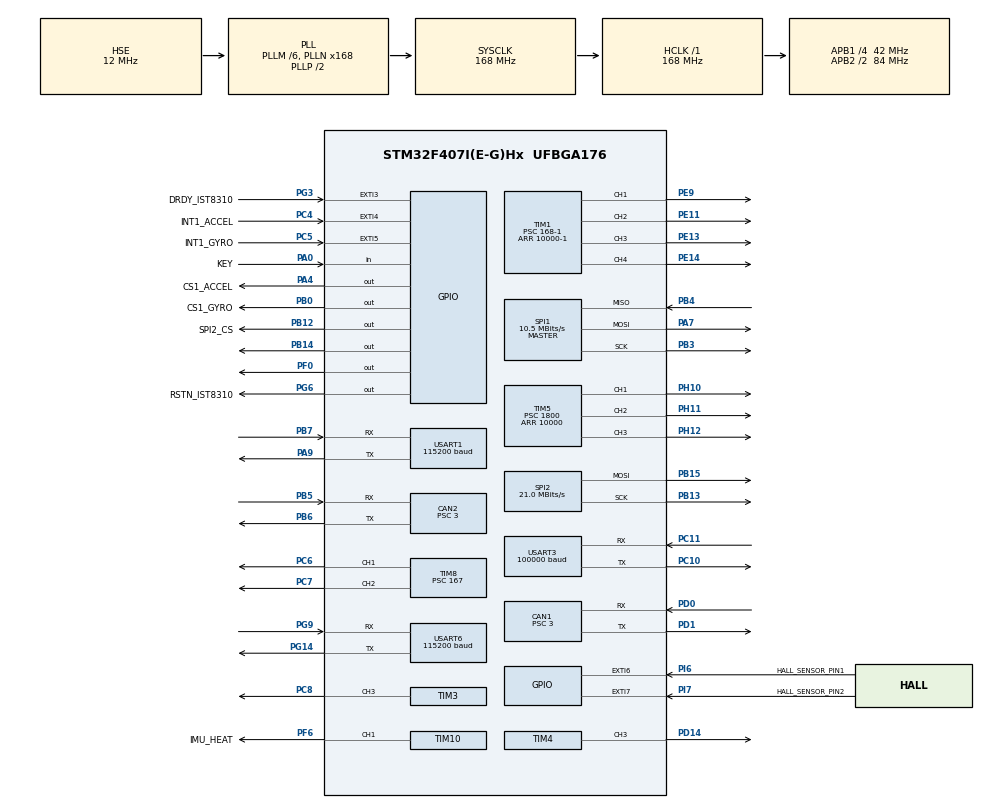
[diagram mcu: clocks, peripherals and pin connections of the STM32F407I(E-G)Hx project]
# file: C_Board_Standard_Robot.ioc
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CAN1.BS1=CAN_BS1_10TQ
CAN1.BS2=CAN_BS2_3TQ
CAN1.CalculateBaudRate=1000000
CAN1.CalculateTimeQuantum=71.42857142857143
CAN1.Prescaler=3
CAN1.SJW=CAN_SJW_1TQ
CAN2.BS1=CAN_BS1_10TQ
CAN2.BS2=CAN_BS2_3TQ
CAN2.CalculateBaudRate=1000000
CAN2.CalculateTimeQuantum=71.42857142857143
CAN2.Prescaler=3
Dma.Request0=SPI1_RX
Dma.Request1=SPI1_TX
Dma.Request2=USART3_RX
Dma.Request3=SPI2_TX
Dma.Request4=USART1_TX
Dma.Request5=USART6_RX
Dma.Request6=USART6_TX
Dma.Request7=USART1_RX
Dma.SPI1_RX.0.Direction=DMA_PERIPH_TO_MEMORY
Dma.SPI1_RX.0.FIFOMode=DMA_FIFOMODE_DISABLE
Dma.SPI1_RX.0.Instance=DMA2_Stream2
Dma.SPI1_RX.0.MemDataAlignment=DMA_MDATAALIGN_BYTE
Dma.SPI1_RX.0.MemInc=DMA_MINC_ENABLE
Dma.SPI1_RX.0.Mode=DMA_NORMAL
Dma.SPI1_RX.0.PeriphDataAlignment=DMA_PDATAALIGN_BYTE
Dma.SPI1_RX.0.PeriphInc=DMA_PINC_DISABLE
Dma.SPI1_RX.0.Priority=DMA_PRIORITY_VERY_HIGH
Dma.SPI1_TX.1.Direction=DMA_MEMORY_TO_PERIPH
Dma.SPI1_TX.1.FIFOMode=DMA_FIFOMODE_DISABLE
Dma.SPI1_TX.1.Instance=DMA2_Stream3
Dma.SPI1_TX.1.MemDataAlignment=DMA_MDATAALIGN_BYTE
Dma.SPI1_TX.1.MemInc=DMA_MINC_ENABLE
Dma.SPI1_TX.1.Mode=DMA_NORMAL
Dma.SPI1_TX.1.PeriphDataAlignment=DMA_PDATAALIGN_BYTE
Dma.SPI1_TX.1.PeriphInc=DMA_PINC_DISABLE
Dma.SPI1_TX.1.Priority=DMA_PRIORITY_HIGH
Dma.SPI2_TX.3.Direction=DMA_MEMORY_TO_PERIPH
Dma.SPI2_TX.3.FIFOMode=DMA_FIFOMODE_DISABLE
Dma.SPI2_TX.3.Instance=DMA1_Stream4
Dma.SPI2_TX.3.MemDataAlignment=DMA_MDATAALIGN_BYTE
Dma.SPI2_TX.3.MemInc=DMA_MINC_ENABLE
Dma.SPI2_TX.3.Mode=DMA_NORMAL
Dma.SPI2_TX.3.PeriphDataAlignment=DMA_PDATAALIGN_BYTE
Dma.SPI2_TX.3.PeriphInc=DMA_PINC_DISABLE
Dma.SPI2_TX.3.Priority=DMA_PRIORITY_LOW
Dma.USART1_RX.7.Direction=DMA_PERIPH_TO_MEMORY
Dma.USART1_RX.7.FIFOMode=DMA_FIFOMODE_DISABLE
Dma.USART1_RX.7.Instance=DMA2_Stream5
Dma.USART1_RX.7.MemDataAlignment=DMA_MDATAALIGN_BYTE
Dma.USART1_RX.7.MemInc=DMA_MINC_ENABLE
Dma.USART1_RX.7.Mode=DMA_NORMAL
Dma.USART1_RX.7.PeriphDataAlignment=DMA_PDATAALIGN_BYTE
Dma.USART1_RX.7.PeriphInc=DMA_PINC_DISABLE
Dma.USART1_RX.7.Priority=DMA_PRIORITY_MEDIUM
Dma.USART1_TX.4.Direction=DMA_MEMORY_TO_PERIPH
Dma.USART1_TX.4.FIFOMode=DMA_FIFOMODE_DISABLE
Dma.USART1_TX.4.Instance=DMA2_Stream7
Dma.USART1_TX.4.MemDataAlignment=DMA_MDATAALIGN_BYTE
Dma.USART1_TX.4.MemInc=DMA_MINC_ENABLE
Dma.USART1_TX.4.Mode=DMA_NORMAL
Dma.USART1_TX.4.PeriphDataAlignment=DMA_PDATAALIGN_BYTE
Dma.USART1_TX.4.PeriphInc=DMA_PINC_DISABLE
Dma.USART1_TX.4.Priority=DMA_PRIORITY_LOW
Dma.USART3_RX.2.Direction=DMA_PERIPH_TO_MEMORY
Dma.USART3_RX.2.FIFOMode=DMA_FIFOMODE_DISABLE
Dma.USART3_RX.2.Instance=DMA1_Stream1
Dma.USART3_RX.2.MemDataAlignment=DMA_MDATAALIGN_BYTE
Dma.USART3_RX.2.MemInc=DMA_MINC_ENABLE
Dma.USART3_RX.2.Mode=DMA_NORMAL
Dma.USART3_RX.2.PeriphDataAlignment=DMA_PDATAALIGN_BYTE
Dma.USART3_RX.2.PeriphInc=DMA_PINC_DISABLE
Dma.USART3_RX.2.Priority=DMA_PRIORITY_VERY_HIGH
Dma.USART6_RX.5.Direction=DMA_PERIPH_TO_MEMORY
Dma.USART6_RX.5.FIFOMode=DMA_FIFOMODE_DISABLE
Dma.USART6_RX.5.Instance=DMA2_Stream1
Dma.USART6_RX.5.MemDataAlignment=DMA_MDATAALIGN_BYTE
Dma.USART6_RX.5.MemInc=DMA_MINC_ENABLE
Dma.USART6_RX.5.Mode=DMA_NORMAL
Dma.USART6_RX.5.PeriphDataAlignment=DMA_PDATAALIGN_BYTE
Dma.USART6_RX.5.PeriphInc=DMA_PINC_DISABLE
Dma.USART6_RX.5.Priority=DMA_PRIORITY_LOW
Dma.USART6_TX.6.Direction=DMA_MEMORY_TO_PERIPH
Dma.USART6_TX.6.FIFOMode=DMA_FIFOMODE_DISABLE
Dma.USART6_TX.6.Instance=DMA2_Stream6
Dma.USART6_TX.6.MemDataAlignment=DMA_MDATAALIGN_BYTE
Dma.USART6_TX.6.MemInc=DMA_MINC_ENABLE
Dma.USART6_TX.6.Mode=DMA_NORMAL
Dma.USART6_TX.6.PeriphDataAlignment=DMA_PDATAALIGN_BYTE
Dma.USART6_TX.6.PeriphInc=DMA_PINC_DISABLE
Dma.USART6_TX.6.Priority=DMA_PRIORITY_LOW
FREERTOS.INCLUDE_eTaskGetState=1
FREERTOS.INCLUDE_pcTaskGetTaskName=1
FREERTOS.INCLUDE_uxTaskGetStackHighWaterMark=1
FREERTOS.INCLUDE_vTaskCleanUpResources=1
FREERTOS.INCLUDE_vTaskDelayUntil=1
FREERTOS.INCLUDE_xEventGroupSetBitFromISR=1
FREERTOS.INCLUDE_xQueueGetMutexHolder=1
FREERTOS.INCLUDE_xSemaphoreGetMutexHolder=1
FREERTOS.INCLUDE_xTaskAbortDelay=1
FREERTOS.INCLUDE_xTaskGetCurrentTaskHandle=1
FREERTOS.INCLUDE_xTaskGetHandle=1
FREERTOS.INCLUDE_xTimerPendFunctionCall=1
FREERTOS.Tasks01=INSTask,0,1024,StartINSTask,Default,NULL,Dynamic,NULL,NULL
FREERTOS.configGENERATE_RUN_TIME_STATS=0
FREERTOS.configTOTAL_HEAP_SIZE=65536
FREERTOS.configUSE_STATS_FORMATTING_FUNCTIONS=0
FREERTOS.configUSE_TRACE_FACILITY=0
Mcu.Family=STM32F4
Mcu.Name=STM32F407I(E-G)Hx
Mcu.Package=UFBGA176
NVIC.CAN1_RX0_IRQn=true\:5\:0\:false\:false\:true\:false\:true\:true\:true
NVIC.CAN2_RX0_IRQn=true\:5\:0\:false\:false\:true\:false\:true\:true\:true
NVIC.DMA1_Stream1_IRQn=true\:5\:0\:false\:false\:true\:true\:false\:true\:true
NVIC.DMA1_Stream4_IRQn=true\:5\:0\:false\:false\:true\:true\:false\:true\:true
NVIC.DMA2_Stream1_IRQn=true\:5\:0\:false\:false\:true\:true\:false\:true\:true
NVIC.DMA2_Stream2_IRQn=true\:5\:0\:true\:false\:false\:false\:false\:true\:true
NVIC.DMA2_Stream3_IRQn=true\:5\:0\:true\:false\:false\:false\:false\:true\:true
NVIC.DMA2_Stream5_IRQn=true\:5\:0\:false\:false\:true\:true\:false\:true\:true
NVIC.DMA2_Stream6_IRQn=true\:5\:0\:false\:false\:true\:true\:false\:true\:true
NVIC.DMA2_Stream7_IRQn=true\:5\:0\:false\:false\:true\:true\:false\:true\:true
NVIC.EXTI3_IRQn=true\:5\:0\:true\:false\:true\:false\:true\:true\:true
NVIC.EXTI4_IRQn=true\:5\:0\:true\:false\:true\:false\:true\:true\:true
NVIC.EXTI9_5_IRQn=true\:5\:0\:true\:false\:true\:false\:true\:true\:true
NVIC.HASH_RNG_IRQn=true\:5\:0\:false\:false\:true\:false\:true\:true\:true
NVIC.PriorityGroup=NVIC_PRIORITYGROUP_4
NVIC.TIM2_IRQn=true\:0\:0\:false\:false\:true\:false\:false\:true\:true
NVIC.TIM8_TRG_COM_TIM14_IRQn=true\:5\:0\:false\:false\:true\:true\:true\:true\:true
NVIC.TimeBase=TIM2_IRQn
NVIC.TimeBaseIP=TIM2
NVIC.USART1_IRQn=true\:0\:0\:true\:false\:true\:false\:true\:true\:true
NVIC.USART3_IRQn=true\:4\:0\:true\:false\:true\:false\:true\:true\:true
NVIC.USART6_IRQn=true\:5\:0\:false\:false\:true\:false\:true\:true\:true
PA0-WKUP.GPIO_Label=KEY
PA0-WKUP.GPIO_PuPd=GPIO_PULLUP
PA0-WKUP.Signal=GPIO_Input
PA13.Mode=Serial_Wire
PA13.Signal=SYS_JTMS-SWDIO
PA14.Mode=Serial_Wire
PA14.Signal=SYS_JTCK-SWCLK
PA4.GPIO_Label=CS1_ACCEL
PA4.GPIO_PuPd=GPIO_PULLUP
PA4.GPIO_Speed=GPIO_SPEED_FREQ_HIGH
PA4.PinState=GPIO_PIN_SET
PA4.Signal=GPIO_Output
PA7.GPIO_PuPd=GPIO_PULLUP
PA7.Mode=Full_Duplex_Master
PA7.Signal=SPI1_MOSI
PA9.Mode=Asynchronous
PA9.Signal=USART1_TX
PB0.GPIO_Label=CS1_GYRO
PB0.GPIO_PuPd=GPIO_PULLUP
PB0.GPIO_Speed=GPIO_SPEED_FREQ_HIGH
PB0.PinState=GPIO_PIN_SET
PB0.Signal=GPIO_Output
PB12.GPIO_Label=SPI2_CS
PB12.GPIO_PuPd=GPIO_PULLUP
PB12.GPIO_Speed=GPIO_SPEED_FREQ_MEDIUM
PB12.PinState=GPIO_PIN_SET
PB12.Signal=GPIO_Output
PB13.Mode=TX_Only_Simplex_Unidirect_Master
PB13.Signal=SPI2_SCK
PB14.GPIO_Speed=GPIO_SPEED_FREQ_VERY_HIGH
PB14.Signal=GPIO_Output
PB15.Mode=TX_Only_Simplex_Unidirect_Master
PB15.Signal=SPI2_MOSI
PB3.GPIO_PuPd=GPIO_PULLUP
PB3.Mode=Full_Duplex_Master
PB3.Signal=SPI1_SCK
PB4.GPIO_PuPd=GPIO_PULLUP
PB4.Mode=Full_Duplex_Master
PB4.Signal=SPI1_MISO
PB5.Mode=CAN_Activate
PB5.Signal=CAN2_RX
PB6.Mode=CAN_Activate
PB6.Signal=CAN2_TX
PB7.Mode=Asynchronous
PB7.Signal=USART1_RX
PC10.GPIO_PuPd=GPIO_PULLUP
PC10.Mode=Asynchronous
PC10.Signal=USART3_TX
PC11.GPIO_PuPd=GPIO_PULLUP
PC11.Mode=Asynchronous
PC11.Signal=USART3_RX
PC4.GPIO_Label=INT1_ACCEL
PC4.GPIO_ModeDefaultEXTI=GPIO_MODE_IT_FALLING
PC4.GPIO_PuPd=GPIO_PULLUP
PC4.Signal=GPXTI4
PC5.GPIO_Label=INT1_GYRO
PC5.GPIO_ModeDefaultEXTI=GPIO_MODE_IT_FALLING
PC5.GPIO_PuPd=GPIO_PULLUP
PC5.Signal=GPXTI5
PC6.Signal=S_TIM8_CH1
PC7.Signal=S_TIM8_CH2
PC8.Signal=S_TIM3_CH3
PD0.Mode=CAN_Activate
PD0.Signal=CAN1_RX
PD1.Mode=CAN_Activate
PD1.Signal=CAN1_TX
PD14.Signal=S_TIM4_CH3
PE11.Signal=S_TIM1_CH2
PE13.Signal=S_TIM1_CH3
PE14.Signal=S_TIM1_CH4
PE9.Signal=S_TIM1_CH1
PF0.GPIO_Speed=GPIO_SPEED_FREQ_VERY_HIGH
PF0.Signal=GPIO_Output
PF6.GPIO_Label=IMU_HEAT
PF6.GPIO_PuPd=GPIO_PULLUP
PF6.GPIO_Speed=GPIO_SPEED_FREQ_HIGH
PF6.Signal=S_TIM10_CH1
PG14.Mode=Asynchronous
PG14.Signal=USART6_TX
PG3.GPIO_Label=DRDY_IST8310
PG3.GPIO_ModeDefaultEXTI=GPIO_MODE_IT_FALLING
PG3.GPIO_PuPd=GPIO_PULLUP
PG3.Signal=GPXTI3
PG6.GPIO_Label=RSTN_IST8310
PG6.GPIO_PuPd=GPIO_PULLUP
PG6.GPIO_Speed=GPIO_SPEED_FREQ_MEDIUM
PG6.PinState=GPIO_PIN_SET
PG6.Signal=GPIO_Output
PG9.Mode=Asynchronous
PG9.Signal=USART6_RX
PH0-OSC_IN.Mode=HSE-External-Oscillator
PH0-OSC_IN.Signal=RCC_OSC_IN
PH1-OSC_OUT.Mode=HSE-External-Oscillator
PH1-OSC_OUT.Signal=RCC_OSC_OUT
PH10.Signal=S_TIM5_CH1
PH11.Signal=S_TIM5_CH2
PH12.Signal=S_TIM5_CH3
PI6.GPIO_Label=HALL_SENSOR_PIN1
PI6.Signal=GPXTI6
PI7.GPIO_Label=HALL_SENSOR_PIN2
PI7.Signal=GPXTI7
ProjectManager.HeapSize=0x2000
ProjectManager.StackSize=0x2000
ProjectManager.TargetToolchain=MDK-ARM V5.32
RCC.48MHZClocksFreq_Value=48000000
RCC.AHBFreq_Value=168000000
RCC.APB1CLKDivider=RCC_HCLK_DIV4
RCC.APB1Freq_Value=42000000
RCC.APB1TimFreq_Value=84000000
RCC.APB2CLKDivider=RCC_HCLK_DIV2
RCC.APB2Freq_Value=84000000
RCC.APB2TimFreq_Value=168000000
RCC.CortexFreq_Value=168000000
RCC.HCLKFreq_Value=168000000
RCC.HSE_VALUE=12000000
RCC.HSI_VALUE=16000000
RCC.LSE_VALUE=32768
RCC.PLLM=6
RCC.PLLN=168
RCC.PLLQ=7
RCC.PLLSourceVirtual=RCC_PLLSOURCE_HSE
RCC.RCC_RTC_Clock_SourceVirtual=RCC_RTCCLKSOURCE_HSE_DIV30
RCC.RCC_RTC_Clock_Source_FROM_HSE=RCC_RTCCLKSOURCE_HSE_DIV30
RCC.SYSCLKFreq_VALUE=168000000
RCC.SYSCLKSource=RCC_SYSCLKSOURCE_PLLCLK
RCC.VCOOutputFreq_Value=336000000
SH.S_TIM10_CH1.0=TIM10_CH1,PWM Generation1 CH1
SH.S_TIM1_CH1.0=TIM1_CH1,PWM Generation1 CH1
SH.S_TIM1_CH2.0=TIM1_CH2,PWM Generation2 CH2
SH.S_TIM1_CH3.0=TIM1_CH3,PWM Generation3 CH3
SH.S_TIM1_CH4.0=TIM1_CH4,PWM Generation4 CH4
SH.S_TIM3_CH3.0=TIM3_CH3,PWM Generation3 CH3
SH.S_TIM4_CH3.0=TIM4_CH3,PWM Generation3 CH3
SH.S_TIM5_CH1.0=TIM5_CH1,PWM Generation1 CH1
SH.S_TIM5_CH2.0=TIM5_CH2,PWM Generation2 CH2
SH.S_TIM5_CH3.0=TIM5_CH3,PWM Generation3 CH3
SH.S_TIM8_CH1.0=TIM8_CH1,PWM Generation1 CH1
SH.S_TIM8_CH2.0=TIM8_CH2,PWM Generation2 CH2
SPI1.BaudRatePrescaler=SPI_BAUDRATEPRESCALER_8
SPI1.CLKPhase=SPI_PHASE_2EDGE
SPI1.CLKPolarity=SPI_POLARITY_HIGH
SPI1.CalculateBaudRate=10.5 MBits/s
SPI1.Direction=SPI_DIRECTION_2LINES
SPI1.Mode=SPI_MODE_MASTER
SPI1.VirtualType=VM_MASTER
SPI2.CalculateBaudRate=21.0 MBits/s
SPI2.Direction=SPI_DIRECTION_2LINES
SPI2.Mode=SPI_MODE_MASTER
SPI2.VirtualType=VM_MASTER
TIM1.Channel-PWM\ Generation1\ CH1=TIM_CHANNEL_1
TIM1.Channel-PWM\ Generation2\ CH2=TIM_CHANNEL_2
TIM1.Channel-PWM\ Generation3\ CH3=TIM_CHANNEL_3
TIM1.Channel-PWM\ Generation4\ CH4=TIM_CHANNEL_4
TIM1.Period=10000-1
TIM1.Prescaler=168-1
TIM10.Channel=TIM_CHANNEL_1
TIM10.Period=2000-1
TIM10.Prescaler=84-1
TIM11.Period=0
TIM11.Prescaler=16799
TIM13.Period=0
TIM13.Prescaler=167
TIM14.Period=16800-1
TIM14.Prescaler=100-1
TIM3.Channel-PWM\ Generation3\ CH3=TIM_CHANNEL_3
TIM3.Pulse-PWM\ Generation3\ CH3=32768
TIM4.Channel-PWM\ Generation3\ CH3=TIM_CHANNEL_3
TIM4.Period=7635
TIM5.Channel-PWM\ Generation1\ CH1=TIM_CHANNEL_1
TIM5.Channel-PWM\ Generation2\ CH2=TIM_CHANNEL_2
TIM5.Channel-PWM\ Generation3\ CH3=TIM_CHANNEL_3
TIM5.Period=10000
TIM5.Prescaler=1800
TIM8.Channel-PWM\ Generation1\ CH1=TIM_CHANNEL_1
TIM8.Channel-PWM\ Generation2\ CH2=TIM_CHANNEL_2
TIM8.Period=19999
TIM8.Prescaler=167
USART1.BaudRate=115200
USART1.VirtualMode=VM_ASYNC
USART3.BaudRate=100000
USART3.Mode=MODE_RX
USART3.Parity=PARITY_EVEN
USART3.VirtualMode=VM_ASYNC
USART3.WordLength=WORDLENGTH_9B
USART6.BaudRate=115200
USART6.VirtualMode=VM_ASYNC
VP_CRC_VS_CRC.Mode=CRC_Activate
VP_FREERTOS_VS_CMSIS_V1.Mode=CMSIS_V1
VP_IWDG_VS_IWDG.Mode=IWDG_Activate
VP_RNG_VS_RNG.Mode=RNG_Activate
VP_SYS_VS_tim2.Mode=TIM2
VP_TIM10_VS_ClockSourceINT.Mode=Enable_Timer
VP_TIM11_VS_ClockSourceINT.Mode=Enable_Timer
VP_TIM13_VS_ClockSourceINT.Mode=Enable_Timer
VP_TIM14_VS_ClockSourceINT.Mode=Enable_Timer
VP_TIM1_VS_ClockSourceINT.Mode=Internal
VP_TIM3_VS_ClockSourceINT.Mode=Internal
VP_TIM4_VS_ClockSourceINT.Mode=Internal
VP_TIM5_VS_ClockSourceINT.Mode=Internal
VP_TIM8_VS_ClockSourceINT.Mode=Internal
board=custom

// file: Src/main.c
/* USER CODE BEGIN Header */
/**
 ******************************************************************************
 * @file           : main.c
 * @brief          : Main program body
 ******************************************************************************
 * @attention
 *
 * <h2><center>&copy; Copyright (c) 2021 STMicroelectronics.
 * All rights reserved.</center></h2>
 *
 * This software component is licensed by ST under Ultimate Liberty license
 * SLA0044, the "License"; You may not use this file except in compliance with
 * the License. You may obtain a copy of the License at:
 *                             www.st.com/SLA0044
 *
 ******************************************************************************
 */
/* USER CODE END Header */
#include "main.h"
#include "cmsis_os.h"
#include "can.h"
#include "crc.h"
#include "dma.h"
#include "iwdg.h"
#include "rng.h"
#include "spi.h"
#include "tim.h"
#include "usart.h"
#include "gpio.h"

/* USER CODE BEGIN Includes */
#include "BMI088driver.h"
#include "bsp_dwt.h"
#include "stdarg.h"
#include "stdio.h"
/* USER CODE END Includes */

/* USER CODE BEGIN PV */
extern DMA_HandleTypeDef hdma_usart1_rx;
extern DMA_HandleTypeDef hdma_usart6_rx;
extern uint8_t u1_rx_buf[256];
extern uint8_t u6_rx_buf[256];
/* USER CODE END PV */

void SystemClock_Config(void);
void MX_FREERTOS_Init(void);
/* USER CODE BEGIN PFP */

void USART_Print(char *fmt, ...);
/* USER CODE END PFP */

/* USER CODE BEGIN 0 */
void USART_Print(char *fmt, ...)
{
  uint8_t buf[128];

  uint16_t len;
  va_list ap;
  va_start(ap, fmt);
  len = vsprintf((char *)buf, fmt, ap);
  va_end(ap);

  HAL_UART_Transmit(&huart6, buf, len, 1000);
  // HAL_UART_Transmit_DMA(&huart1, buf, len);
}
// void USART_Print1(char *fmt, ...)
// {
//   uint8_t buf[128];

//   uint16_t len;
//   va_list ap;
//   va_start(ap, fmt);
//   len = vsprintf((char *)buf, fmt, ap);
//   va_end(ap);

//   HAL_UART_Transmit(&huart6, buf, len, 1000);
//   // HAL_UART_Transmit_DMA(&huart1, buf, len);
// }
/* USER CODE END 0 */

int main(void)
{

  /* MCU Configuration--------------------------------------------------------*/

  /* Reset of all peripherals, Initializes the Flash interface and the Systick. */
  HAL_Init();

  /* Configure the system clock */
  SystemClock_Config();

  /* Initialize all configured peripherals */
  MX_GPIO_Init();
  MX_DMA_Init();
  MX_SPI1_Init();
  MX_TIM10_Init();
  MX_CAN1_Init();
  MX_CAN2_Init();
  MX_USART3_UART_Init();
  MX_USART1_UART_Init();
  MX_USART6_UART_Init();
  MX_SPI2_Init();
  MX_CRC_Init();
  MX_RNG_Init();
  MX_TIM3_Init();
  MX_TIM4_Init();
  MX_TIM5_Init();
  MX_TIM8_Init();
  MX_TIM11_Init();
  MX_TIM13_Init();
  MX_TIM1_Init();
  MX_IWDG_Init();
  MX_TIM14_Init();
  /* USER CODE BEGIN 2 */

  Init_Before_OS();

  // HAL_UART_Receive_IT(&huart1, u1_rx_buf, 14);
  /* USER CODE END 2 */

  /* Call init function for freertos objects (in freertos.c) */
  MX_FREERTOS_Init();

  /* Start scheduler */
  osKernelStart();
  /* We should never get here as control is now taken by the scheduler */
  /* Infinite loop */
  while (1)
  {

  }
}

void SystemClock_Config(void)
{
  RCC_OscInitTypeDef RCC_OscInitStruct = {0};
  RCC_ClkInitTypeDef RCC_ClkInitStruct = {0};

  /** Configure the main internal regulator output voltage
  */
  __HAL_RCC_PWR_CLK_ENABLE();
  __HAL_PWR_VOLTAGESCALING_CONFIG(PWR_REGULATOR_VOLTAGE_SCALE1);

  /** Initializes the RCC Oscillators according to the specified parameters
  * in the RCC_OscInitTypeDef structure.
  */
  RCC_OscInitStruct.OscillatorType = RCC_OSCILLATORTYPE_LSI|RCC_OSCILLATORTYPE_HSE;
  RCC_OscInitStruct.HSEState = RCC_HSE_ON;
  RCC_OscInitStruct.LSIState = RCC_LSI_ON;
  RCC_OscInitStruct.PLL.PLLState = RCC_PLL_ON;
  RCC_OscInitStruct.PLL.PLLSource = RCC_PLLSOURCE_HSE;
  RCC_OscInitStruct.PLL.PLLM = 6;
  RCC_OscInitStruct.PLL.PLLN = 168;
  RCC_OscInitStruct.PLL.PLLP = RCC_PLLP_DIV2;
  RCC_OscInitStruct.PLL.PLLQ = 7;
  if (HAL_RCC_OscConfig(&RCC_OscInitStruct) != HAL_OK)
  {
    Error_Handler();
  }

  /** Initializes the CPU, AHB and APB buses clocks
  */
  RCC_ClkInitStruct.ClockType = RCC_CLOCKTYPE_HCLK|RCC_CLOCKTYPE_SYSCLK
                              |RCC_CLOCKTYPE_PCLK1|RCC_CLOCKTYPE_PCLK2;
  RCC_ClkInitStruct.SYSCLKSource = RCC_SYSCLKSOURCE_PLLCLK;
  RCC_ClkInitStruct.AHBCLKDivider = RCC_SYSCLK_DIV1;
  RCC_ClkInitStruct.APB1CLKDivider = RCC_HCLK_DIV4;
  RCC_ClkInitStruct.APB2CLKDivider = RCC_HCLK_DIV2;

  if (HAL_RCC_ClockConfig(&RCC_ClkInitStruct, FLASH_LATENCY_5) != HAL_OK)
  {
    Error_Handler();
  }
}

void HAL_TIM_PeriodElapsedCallback(TIM_HandleTypeDef *htim)
{
  /* USER CODE BEGIN Callback 0 */

  __HAL_IWDG_RELOAD_COUNTER(&hiwdg);
  /* USER CODE END Callback 0 */
  if (htim->Instance == TIM2) {
    HAL_IncTick();
  }
}

void Error_Handler(void)
{
}

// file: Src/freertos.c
/* USER CODE BEGIN Header */
/**
 ******************************************************************************
 * File Name          : freertos.c
 * Description        : Code for freertos applications
 ******************************************************************************
 * @attention
 *
 * <h2><center>&copy; Copyright (c) 2021 STMicroelectronics.
 * All rights reserved.</center></h2>
 *
 * This software component is licensed by ST under Ultimate Liberty license
 * SLA0044, the "License"; You may not use this file except in compliance with
 * the License. You may obtain a copy of the License at:
 *                             www.st.com/SLA0044
 *
 ******************************************************************************
 */
/* USER CODE END Header */

#include "FreeRTOS.h"
#include "task.h"
#include "main.h"
#include "cmsis_os.h"

/* USER CODE BEGIN PTD */

extern IWDG_HandleTypeDef hiwdg;
/* USER CODE END PTD */

osThreadId INSTaskHandle;

void StartINSTask(void const * argument);

void MX_FREERTOS_Init(void); /* (MISRA C 2004 rule 8.1) */

/* GetIdleTaskMemory prototype (linked to static allocation support) */
void vApplicationGetIdleTaskMemory( StaticTask_t **ppxIdleTaskTCBBuffer, StackType_t **ppxIdleTaskStackBuffer, uint32_t *pulIdleTaskStackSize );

/* GetTimerTaskMemory prototype (linked to static allocation support) */
void vApplicationGetTimerTaskMemory( StaticTask_t **ppxTimerTaskTCBBuffer, StackType_t **ppxTimerTaskStackBuffer, uint32_t *pulTimerTaskStackSize );

/* USER CODE BEGIN GET_IDLE_TASK_MEMORY */
static StaticTask_t xIdleTaskTCBBuffer;
static StackType_t xIdleStack[configMINIMAL_STACK_SIZE];

void vApplicationGetIdleTaskMemory(StaticTask_t **ppxIdleTaskTCBBuffer, StackType_t **ppxIdleTaskStackBuffer, uint32_t *pulIdleTaskStackSize)
{
  *ppxIdleTaskTCBBuffer = &xIdleTaskTCBBuffer;
  *ppxIdleTaskStackBuffer = &xIdleStack[0];
  *pulIdleTaskStackSize = configMINIMAL_STACK_SIZE;
  /* place for user code */
}
/* USER CODE END GET_IDLE_TASK_MEMORY */

/* USER CODE BEGIN GET_TIMER_TASK_MEMORY */
static StaticTask_t xTimerTaskTCBBuffer;
static StackType_t xTimerStack[configTIMER_TASK_STACK_DEPTH];

void vApplicationGetTimerTaskMemory(StaticTask_t **ppxTimerTaskTCBBuffer, StackType_t **ppxTimerTaskStackBuffer, uint32_t *pulTimerTaskStackSize)
{
  *ppxTimerTaskTCBBuffer = &xTimerTaskTCBBuffer;
  *ppxTimerTaskStackBuffer = &xTimerStack[0];
  *pulTimerTaskStackSize = configTIMER_TASK_STACK_DEPTH;
  /* place for user code */
}
/* USER CODE END GET_TIMER_TASK_MEMORY */

void MX_FREERTOS_Init(void) {

  /* Create the thread(s) */
  /* definition and creation of INSTask */
  osThreadDef(INSTask, StartINSTask, osPriorityNormal, 0, 1024);
  INSTaskHandle = osThreadCreate(osThread(INSTask), NULL);

  /* USER CODE BEGIN RTOS_THREADS */
#ifdef USE_ST7735_MONITOR
  xTaskCreate(Monitor_Frame_Upgrade, "st7735", 256, NULL, 0, NULL);
#endif // USE_ST7735_MONITOR

  xTaskCreate(YawEcdReportTask, "ecd_report", 128, NULL, 0, NULL);
  xTaskCreate(CAN_Transmition_Thread, "Controll", 1638, NULL, 0, NULL);

  /* add threads, ... */
  /* USER CODE END RTOS_THREADS */

}

void StartINSTask(void const * argument)
{
  /* USER CODE BEGIN StartINSTask */

  /* Infinite loop */
  for (;;)
  {
    INS_Task();
		// HAL_IWDG_Refresh(&hiwdg);
    osDelay(1);
  }
  /* USER CODE END StartINSTask */
}
